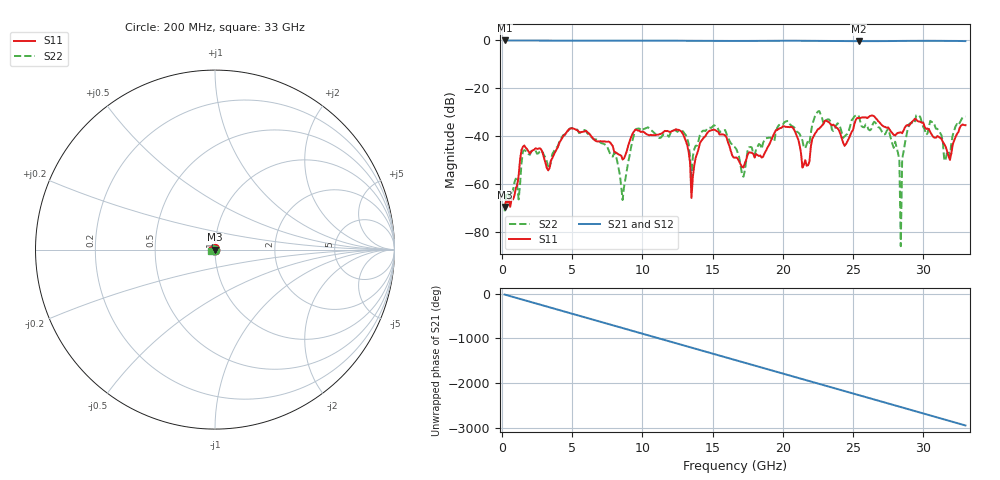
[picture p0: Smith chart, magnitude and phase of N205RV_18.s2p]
# GHZ S RI R 50
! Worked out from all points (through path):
!   329 points, 200 MHz to 33 GHz, reference 50 ohm
!   highest |S21| = -0.01 dB at 200 MHz (marker M1); lowest = -0.3 dB at 25.4 GHz (marker M2)
!   group delay of S21, straight-line fit = 248 ps
!   lowest |S11| = -69.4 dB at 200 MHz (marker M3), VSWR 1.00, Z = 50 - j0.0292 ohm
!   |S11| at or under -10 dB: start of sweep to end of sweep
!   |S22| runs from -85.8 to -29.4 dB; largest |S21 - S12| = 0.0019
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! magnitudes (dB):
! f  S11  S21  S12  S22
! 200 MHz  -69.4  0.0  0.0  -71.3
! 1.2 GHz  -56.3  0.0  0.0  -66.3
! 1.5 GHz  -44.4  0.0  0.0  -46.4
! 5.7 GHz  -38.2  -0.1  -0.1  -38.0
! 8.1 GHz  -46.7  -0.1  -0.1  -47.6
! 8.6 GHz  -49.7  -0.1  -0.1  -66.5
! 9.5 GHz  -37.2  -0.1  -0.1  -37.4
! 11.2 GHz  -39.2  -0.1  -0.1  -40.7
! 12.9 GHz  -39.1  -0.1  -0.1  -37.9
! 13.5 GHz  -65.7  -0.2  -0.2  -58.5
! 14.7 GHz  -38.1  -0.2  -0.2  -36.5
! 16.6 GHz  -48.9  -0.2  -0.2  -44.5
! 17.2 GHz  -53.0  -0.2  -0.2  -56.8
! 22.1 GHz  -41.1  -0.2  -0.2  -35.1
! 25.4 GHz  -32.4  -0.3  -0.3  -31.3
! 27.6 GHz  -37.1  -0.3  -0.3  -38.8
! 28.3 GHz  -38.5  -0.2  -0.2  -49.7
! 28.4 GHz  -38.3  -0.2  -0.2  -85.8
! 28.5 GHz  -38.7  -0.2  -0.2  -49.4
! 29 GHz  -35.5  -0.2  -0.2  -34.9
! 31.5 GHz  -43.3  -0.2  -0.2  -50.2
! 33 GHz  -35.3  -0.3  -0.3  -31.7
